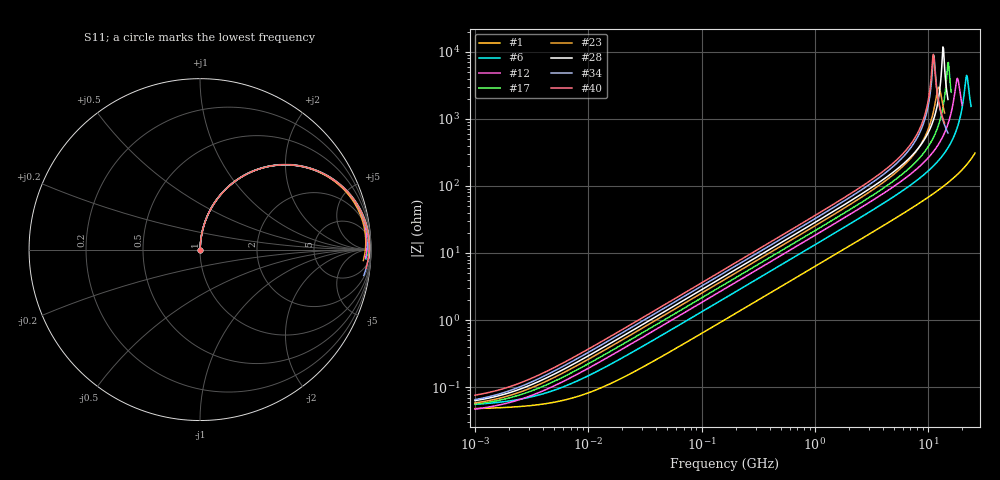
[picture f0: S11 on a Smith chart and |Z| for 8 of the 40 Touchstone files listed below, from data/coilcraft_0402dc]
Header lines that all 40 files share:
# MHz  S  MA  R  50
!Freq  MagS11  AngS11  MagS21  AngS21  MagS12  AngS12  MagS22  AngS22
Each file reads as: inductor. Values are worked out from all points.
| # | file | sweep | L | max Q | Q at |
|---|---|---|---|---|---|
| 1 | 0402DC-1N0.s2p | 1 MHz to 26 GHz | 1 nH | 170 | 9.015 GHz |
| 2 | 0402DC-1N2.s2p | 1 MHz to 26 GHz | 1.2 nH | 89.1 | 6.99 GHz |
| 3 | 0402DC-1N7.s2p | 1 MHz to 25 GHz | 1.7 nH | 181 | 4.677 GHz |
| 4 | 0402DC-1N8.s2p | 1 MHz to 24 GHz | 1.9 nH | 176 | 4.642 GHz |
| 5 | 0402DC-1N9.s2p | 1 MHz to 24 GHz | 1.9 nH | 171 | 4.526 GHz |
| 6 | 0402DC-2N1.s2p | 1 MHz to 24 GHz | 2.1 nH | 124 | 5.135 GHz |
| 7 | 0402DC-2N2.s2p | 1 MHz to 23 GHz | 2.2 nH | 124 | 5.252 GHz |
| 8 | 0402DC-2N3.s2p | 1 MHz to 23 GHz | 2.3 nH | 120 | 5.386 GHz |
| 9 | 0402DC-2N4.s2p | 1 MHz to 22 GHz | 2.4 nH | 121 | 5.788 GHz |
| 10 | 0402DC-2N5.s2p | 1 MHz to 22 GHz | 2.5 nH | 90.1 | 5.645 GHz |
| 11 | 0402DC-2N8.s2p | 1 MHz to 20 GHz | 2.8 nH | 134 | 3.543 GHz |
| 12 | 0402DC-2N9.s2p | 1 MHz to 20 GHz | 2.9 nH | 138 | 3.816 GHz |
| 13 | 0402DC-3N0.s2p | 1 MHz to 18 GHz | 3 nH | 161 | 3.68 GHz |
| 14 | 0402DC-3N1.s2p | 1 MHz to 18 GHz | 3.1 nH | 145 | 3.68 GHz |
| 15 | 0402DC-3N2.s2p | 1 MHz to 16 GHz | 3.2 nH | 156 | 3.292 GHz |
| 16 | 0402DC-3N3.s2p | 1 MHz to 16 GHz | 3.3 nH | 162 | 3.252 GHz |
| 17 | 0402DC-3N4.s2p | 1 MHz to 16 GHz | 3.4 nH | 166 | 3.627 GHz |
| 18 | 0402DC-3N5.s2p | 1 MHz to 15 GHz | 3.5 nH | 154 | 3.085 GHz |
| 19 | 0402DC-3N6.s2p | 1 MHz to 16 GHz | 3.6 nH | 182 | 4.402 GHz |
| 20 | 0402DC-3N7.s2p | 1 MHz to 15 GHz | 3.7 nH | 144 | 2.607 GHz |
| 21 | 0402DC-3N8.s2p | 1 MHz to 14 GHz | 3.8 nH | 152 | 2.66 GHz |
| 22 | 0402DC-3N9.s2p | 1 MHz to 14 GHz | 3.9 nH | 143 | 2.566 GHz |
| 23 | 0402DC-4N0.s2p | 1 MHz to 14 GHz | 4 nH | 142 | 2.446 GHz |
| 24 | 0402DC-4N1.s2p | 1 MHz to 14 GHz | 4.1 nH | 152 | 2.997 GHz |
| 25 | 0402DC-4N2.s2p | 1 MHz to 15 GHz | 4.2 nH | 143 | 2.455 GHz |
| 26 | 0402DC-4N3.s2p | 1 MHz to 15 GHz | 4.3 nH | 137 | 2.87 GHz |
| 27 | 0402DC-4N4.s2p | 1 MHz to 16 GHz | 4.4 nH | 146 | 2.916 GHz |
| 28 | 0402DC-4N5.s2p | 1 MHz to 15 GHz | 4.5 nH | 159 | 3.651 GHz |
| 29 | 0402DC-4N6.s2p | 1 MHz to 15 GHz | 4.6 nH | 154 | 3.316 GHz |
| 30 | 0402DC-4N7.s2p | 1 MHz to 15 GHz | 4.7 nH | 149 | 2.703 GHz |
| 31 | 0402DC-4N8.s2p | 1 MHz to 15 GHz | 4.8 nH | 154 | 3.122 GHz |
| 32 | 0402DC-4N9.s2p | 1 MHz to 15 GHz | 4.9 nH | 154 | 3.048 GHz |
| 33 | 0402DC-5N0.s2p | 1 MHz to 14 GHz | 5 nH | 146 | 2.566 GHz |
| 34 | 0402DC-5N1.s2p | 1 MHz to 15 GHz | 5.1 nH | 151 | 2.87 GHz |
| 35 | 0402DC-5N2.s2p | 1 MHz to 14 GHz | 5.2 nH | 146 | 2.476 GHz |
| 36 | 0402DC-5N3.s2p | 1 MHz to 13 GHz | 5.3 nH | 148 | 2.976 GHz |
| 37 | 0402DC-5N4.s2p | 1 MHz to 13 GHz | 5.4 nH | 152 | 3.084 GHz |
| 38 | 0402DC-5N5.s2p | 1 MHz to 13 GHz | 5.5 nH | 145 | 2.405 GHz |
| 39 | 0402DC-5N6.s2p | 1 MHz to 15 GHz | 5.6 nH | 154 | 3.122 GHz |
| 40 | 0402DC-5N7.s2p | 1 MHz to 14 GHz | 5.7 nH | 146 | 2.79 GHz |
